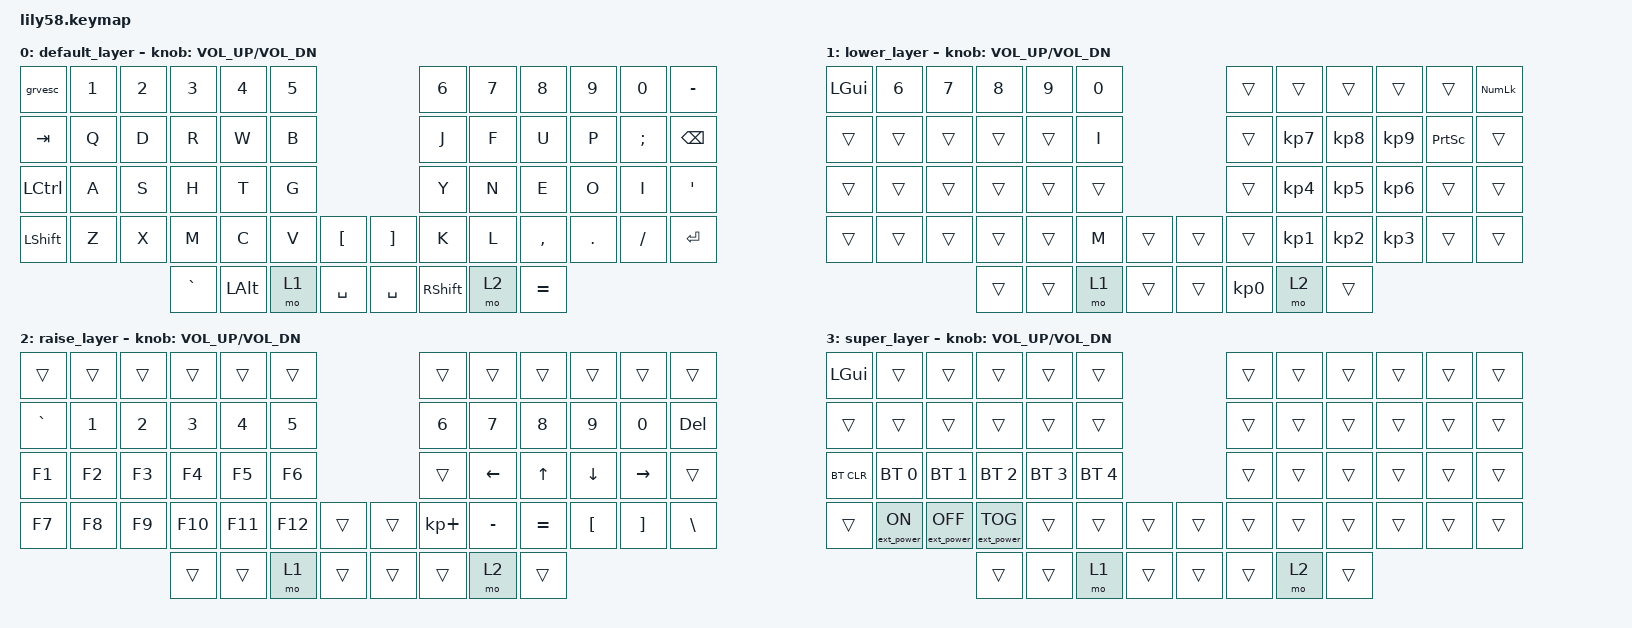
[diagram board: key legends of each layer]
/*
 * Copyright (c) 2020 The ZMK Contributors
 *
 * SPDX-License-Identifier: MIT
 */

#include <behaviors.dtsi>
#include <dt-bindings/zmk/keys.h>
#include <dt-bindings/zmk/bt.h>
#include <dt-bindings/zmk/ext_power.h>
#include <dt-bindings/zmk/rgb.h>

#define DEFAULT 0
#define LOWER 1
#define RAISE 2
#define SUPER 3

/ {

	combos {
        	compatible = "zmk,combos";
        	combo_super {
            		timeout-ms = <50>;
            		key-positions = <52 56>;
            		bindings = <&mo 3>;
        	};
    	};
	
	behaviors {
		grvesc: grave_escape {
			compatible = "zmk,behavior-mod-morph";
			label = "GRAVE_ESCAPE";
			#binding-cells = <0>;
			bindings = <&kp ESC>, <&kp GRAVE>;
			mods = <(MOD_LSFT)>;
		};
	};
    
	keymap {
		compatible = "zmk,keymap";

		default_layer {
// --------------------------------------------------------------------------------------------------------------------------------------------------------------------------
// |  ESC   |     1     |     2     |     3     |     4     |     5     |                           |     6     |     7     |     8     |     9     |     0     |     -     |
// |  TAB   |     Q     |     D     |     R     |     W     |     B     |                           |     J     |     F     |     U     |     P     |     ;     |    BS     |
// |  CTRL  |     A     |     S     |     H     |     T     |     G     |                           |     Y     |     N     |     E     |     O     |     I     |     '     |
// | LSHIFT |     Z     |     X     |     M     |     C     |     V     |    "["    |   |    "]"    |     K     |     L     |     ,     |     .     |     /     |   ENTER   |
//                                  |     `     |   LALT    |   LOWER   |   SPACE   |   |   SPACE   |  RSHIFT   |   RAISE   |     =     |
			bindings = <
&grvesc     &kp N1      &kp N2      &kp N3      &kp N4      &kp N5                                  &kp N6      &kp N7      &kp N8      &kp N9      &kp N0      &kp MINUS
&kp TAB     &kp Q       &kp D       &kp R       &kp W       &kp B                                   &kp J       &kp F       &kp U       &kp P       &kp SEMI    &kp BSPC
&kp LCTRL   &kp A       &kp S       &kp H       &kp T       &kp G                                   &kp Y       &kp N       &kp E       &kp O       &kp I       &kp SQT
&kp LSHFT   &kp Z       &kp X       &kp M       &kp C       &kp V       &kp LBKT        &kp RBKT    &kp K       &kp L       &kp COMMA   &kp DOT     &kp FSLH    &kp RET
                                    &kp GRAVE   &kp LALT    &mo 1       &kp SPACE       &kp SPACE   &kp RSHFT   &mo 2       &kp EQUAL
			>;

			sensor-bindings = <&inc_dec_kp C_VOL_UP C_VOL_DN>;
		};

		lower_layer {
// --------------------------------------------------------------------------------------------------------------------------------------------------------------------------
// |  LGUI  |     6     |     7     |     8     |     9     |     10    |                           |           |           |           |           |           |    NUM    |
// |        |           |           |           |           |     I     |                           |           |     7     |     8     |     9     |   PSCRN   |           |
// |        |           |           |           |           |           |                           |           |     4     |     5     |     6     |           |           |
// |        |           |           |           |           |     M     |           |   |           |           |     1     |     2     |     3     |           |           |
//                                  |           |           |   LOWER   |           |   |           |     0     |   RAISE   |           |
			bindings = <
&kp LGUI    &kp N6   	&kp N7      &kp N8      &kp N9      &kp N0                                  &trans      &trans      &trans      &trans      &trans      &kp KP_NUM
&trans      &trans      &trans      &trans      &trans      &kp I                                   &trans      &kp KP_N7   &kp KP_N8   &kp KP_N9   &kp PSCRN   &trans
&trans      &trans      &trans      &trans      &trans      &trans                                  &trans      &kp KP_N4   &kp KP_N5   &kp KP_N6   &trans      &trans
&trans      &trans      &trans      &trans      &trans      &kp M       &trans          &trans      &trans      &kp KP_N1   &kp KP_N2   &kp KP_N3   &trans      &trans
                                    &trans      &trans      &mo 1       &trans          &trans      &kp KP_N0   &mo 2       &trans
			>;

			sensor-bindings = <&inc_dec_kp C_VOL_UP C_VOL_DN>;
		};

		raise_layer {
// --------------------------------------------------------------------------------------------------------------------------------------------------------------------------
// |        |           |           |           |           |           |                           |           |           |           |           |           |           |
// |   `    |     1     |     2     |     3     |     4     |     5     |                           |     6     |     7     |     8     |     9     |     0     |    DEL    |
// |   F1   |    F2     |    F3     |    F4     |    F5     |    F6     |                           |           |    <-     |     ^     |     v     |    ->     |           |
// |   F7   |    F8     |    F9     |    F10    |    F11    |    F12    |           |   |           |     +     |     -     |     =     |    "["    |    "]"    |     \     |
//                                  |           |           |   LOWER   |           |   |           |           |   RAISE   |           |
			bindings = <
&trans      &trans      &trans      &trans      &trans      &trans                                  &trans      &trans      &trans      &trans      &trans      &trans
&kp GRAVE   &kp N1      &kp N2      &kp N3      &kp N4      &kp N5                                  &kp N6      &kp N7      &kp N8      &kp N9      &kp N0      &kp DEL
&kp F1      &kp F2      &kp F3      &kp F4      &kp F5      &kp F6                                  &trans      &kp LEFT    &kp UP      &kp DOWN    &kp RIGHT   &trans
&kp F7      &kp F8      &kp F9      &kp F10     &kp F11     &kp F12     &trans          &trans      &kp KP_PLUS &kp MINUS   &kp EQUAL   &kp LBKT    &kp RBKT    &kp BSLH
                                    &trans      &trans      &mo 1       &trans          &trans      &trans      &mo 2       &trans
			>;

			sensor-bindings = <&inc_dec_kp C_VOL_UP C_VOL_DN>;
		};
		
		super_layer {
// ----------------------------------------------------------------------------------------------------------------------------------------------------------------------------------------------------------------------------------------------------------------------
// |   LGUI     |                   |                   |                   |                   |                   |                           |                   |                   |                   |                   |                   |                   |
// |            |                   |                   |                   |                   |                   |                           |                   |                   |                   |                   |                   |                   |
// |   BTCLR    |        BT1        |        BT2        |        BT3        |        BT4        |        BT5        |                           |                   |                   |                   |                   |                   |                   |
// |            |       EP_ON       |       EP_OFF      |      EP_TOG       |                   |                   |           |   |           |                   |                   |                   |                   |                   |                   |
//                                                      |                   |                   |       LOWER       |           |   |           |                   |       RAISE       |                   |
			bindings = <
&kp LGUI        &trans              &trans              &trans              &trans              &trans                                          &trans              &trans              &trans              &trans              &trans              &trans
&trans          &trans              &trans 	        &trans              &trans              &trans                                          &trans              &trans              &trans              &trans              &trans              &trans
&bt BT_CLR      &bt BT_SEL 0        &bt BT_SEL 1        &bt BT_SEL 2        &bt BT_SEL 3        &bt BT_SEL 4                                    &trans              &trans              &trans              &trans              &trans              &trans
&trans          &ext_power EP_ON    &ext_power EP_OFF   &ext_power EP_TOG   &trans              &trans              &trans          &trans      &trans              &trans              &trans              &trans              &trans              &trans
                                                        &trans              &trans              &mo 1               &trans          &trans      &trans              &mo 2               &trans
			>;

			sensor-bindings = <&inc_dec_kp C_VOL_UP C_VOL_DN>;
		};
	};
};
#
